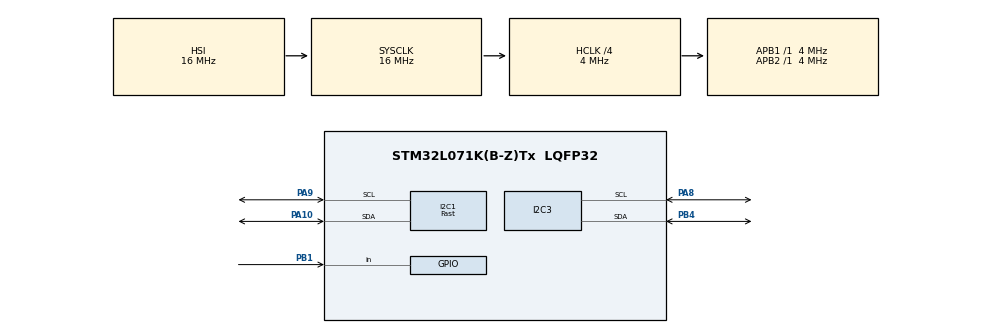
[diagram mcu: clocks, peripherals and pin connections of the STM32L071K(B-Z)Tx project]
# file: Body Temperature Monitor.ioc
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I2C1.I2C_Speed_Mode=I2C_Fast
I2C1.Timing=0x00000004
I2C3.Timing=0x00000E14
Mcu.Family=STM32L0
Mcu.Name=STM32L071K(B-Z)Tx
Mcu.Package=LQFP32
NVIC.TIM21_IRQn=true\:1\:0\:true\:false\:true\:true\:true
NVIC.TIM2_IRQn=true\:0\:0\:false\:false\:true\:true\:true
NVIC.TIM6_IRQn=true\:0\:0\:false\:false\:true\:true\:true
PA0.Mode=SYS_WakeUp0
PA0.Signal=SYS_WKUP1
PA10.Mode=I2C
PA10.Signal=I2C1_SDA
PA13.Mode=Serial_Wire
PA13.Signal=SYS_SWDIO
PA14.Mode=Serial_Wire
PA14.Signal=SYS_SWCLK
PA8.Mode=I2C
PA8.Signal=I2C3_SCL
PA9.Mode=I2C
PA9.Signal=I2C1_SCL
PB1.Signal=GPIO_Input
PB4.Mode=I2C
PB4.Signal=I2C3_SDA
PC14-OSC32_IN.Mode=LSE-External-Oscillator
PC14-OSC32_IN.Signal=RCC_OSC32_IN
PC15-OSC32_OUT.Mode=LSE-External-Oscillator
PC15-OSC32_OUT.Signal=RCC_OSC32_OUT
ProjectManager.HeapSize=0x200
ProjectManager.StackSize=0x400
ProjectManager.TargetToolchain=STM32CubeIDE
RCC.AHBCLKDivider=RCC_SYSCLK_DIV4
RCC.AHBFreq_Value=4000000
RCC.APB1Freq_Value=4000000
RCC.APB1TimFreq_Value=4000000
RCC.APB2Freq_Value=4000000
RCC.APB2TimFreq_Value=4000000
RCC.HCLKFreq_Value=4000000
RCC.HSI16_VALUE=16000000
RCC.HSI_VALUE=16000000
RCC.MSI_VALUE=2097000
RCC.RTCClockSelectionVirtual=RCC_RTCCLKSOURCE_LSE
RCC.SYSCLKFreq_VALUE=16000000
RCC.SYSCLKSource=RCC_SYSCLKSOURCE_HSI
RCC.VCOOutputFreq_Value=48000000
RCC.VDD_VALUE=3
TIM2.Period=50
TIM2.Prescaler=4000-1
TIM2.TIM_MasterOutputTrigger=TIM_TRGO_ENABLE
TIM21.Period=1000
TIM21.Prescaler=4000
TIM21.TIM_MasterOutputTrigger=TIM_TRGO_ENABLE
TIM3.Period=65536-1
TIM3.Prescaler=400-1
TIM6.Period=50
TIM6.Prescaler=4000-1
TIM6.TIM_MasterOutputTrigger=TIM_TRGO_ENABLE
TIM7.Period=65536-1
TIM7.Prescaler=400-1
VP_RTC_VS_RTC_Activate.Mode=RTC_Enabled
VP_RTC_VS_RTC_Calendar.Mode=RTC_Calendar
VP_TIM21_VS_ClockSourceINT.Mode=Internal
VP_TIM2_VS_ClockSourceINT.Mode=Internal
VP_TIM3_VS_ClockSourceINT.Mode=Internal
VP_TIM6_VS_ClockSourceINT.Mode=Enable_Timer
VP_TIM7_VS_ClockSourceINT.Mode=Enable_Timer
board=custom

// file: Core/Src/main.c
/* USER CODE BEGIN Header */
/**
  ******************************************************************************
  * @file           : main.c
  * @brief          : Main program body
  ******************************************************************************
  * @attention
  *
  * <h2><center>&copy; Copyright (c) 2021 STMicroelectronics.
  * All rights reserved.</center></h2>
  *
  * This software component is licensed by ST under BSD 3-Clause license,
  * the "License"; You may not use this file except in compliance with the
  * License. You may obtain a copy of the License at:
  *                        opensource.org/licenses/BSD-3-Clause
  *
  ******************************************************************************
  */
/* USER CODE END Header */
#include "main.h"

/* USER CODE BEGIN Includes */
#include "fonts.h"
#include "ssd1306.h"
#include "test.h"
#include<stdbool.h>
#include<stdio.h>
#include "string.h"
/* USER CODE END Includes */

/* USER CODE BEGIN PTD */
RTC_TimeTypeDef sTime = {0};
RTC_DateTypeDef sDate = {0};
RTC_DateTypeDef gDate;
RTC_TimeTypeDef gTime;
/* USER CODE END PTD */

I2C_HandleTypeDef hi2c1;
I2C_HandleTypeDef hi2c3;

RTC_HandleTypeDef hrtc;

TIM_HandleTypeDef htim2;
TIM_HandleTypeDef htim3;
TIM_HandleTypeDef htim6;
TIM_HandleTypeDef htim7;
TIM_HandleTypeDef htim21;

/* USER CODE BEGIN PV */
char time[10];
char today[15];
char today_year[5];
char temp[5];
char hour[2];
char min[2];
char date[2];
char month[2];
char year[2];
float time_pressed = 0;
u_int8_t disp_mode = 0;
u_int8_t set_hour = 0;
u_int8_t set_min = 0;
u_int8_t set_date = 0;
u_int8_t set_month = 0;
u_int8_t set_year = 0;
u_int8_t doNothing = 0;
bool buttonPressed = false;
bool buttonPressed_set = false;//"button" for when in settings mode
bool disp_changed = false;//Used to clear the display only if the display mode is changed---CANNOT CLEAR IN INTERRUPT, ITS TO FAST AND THE WHOLE DISPLAY ARE NOT CLEARED
bool standby_tim_start = false;

//MAX30205 settings
const uint8_t max30205_addr = 0x90;//From datasheet, A0, A1, A2 = GND
const uint8_t max30205_conf = 0x44;//From datasheet, select all functions to be active (Highlighted in datasheet)
const uint8_t max30205_sleep = 0x01;
float sens_temp = 00.0;//Variable to store the temperature from MAX30205

/* USER CODE END PV */

void SystemClock_Config(void);
static void MX_GPIO_Init(void);
static void MX_I2C1_Init(void);
static void MX_I2C3_Init(void);
static void MX_RTC_Init(void);
static void MX_TIM2_Init(void);
static void MX_TIM3_Init(void);
static void MX_TIM6_Init(void);
static void MX_TIM7_Init(void);
static void MX_TIM21_Init(void);

/* USER CODE BEGIN 0 */
void set_time (void)
{
	sTime.Hours = 0x00;
	sTime.Minutes = 0x00;
	sTime.Seconds = 0x00;
	sTime.DayLightSaving = RTC_DAYLIGHTSAVING_NONE;
	sTime.StoreOperation = RTC_STOREOPERATION_RESET;
	if (HAL_RTC_SetTime(&hrtc, &sTime, RTC_FORMAT_BCD) != HAL_OK)
	{
		Error_Handler();
	}
	sDate.WeekDay = 01;
	sDate.Month = 0x01;
	sDate.Date = 0x01;
	sDate.Year = 0x20;
	if (HAL_RTC_SetDate(&hrtc, &sDate, RTC_FORMAT_BCD) != HAL_OK)
	{
		Error_Handler();
	}

	HAL_RTCEx_BKUPWrite(&hrtc, RTC_BKP_DR1, 0x32F2);
}

void get_time(void)
{
	//Get current time from RTC
	HAL_RTC_GetTime(&hrtc, &gTime, RTC_FORMAT_BIN);
	//Get current date from RTC
	HAL_RTC_GetDate(&hrtc, &gDate, RTC_FORMAT_BIN);
}

void display_time (void)
{
	//Display time: hh:mm:ss
	sprintf((char*)time, "%02d:%02d", gTime.Hours, gTime.Minutes);
	if (disp_changed)
	{
		SSD1306_Clear();
		disp_changed = false;
	}
	SSD1306_GotoXY(35, 40);
	SSD1306_Puts(time, &Font_11x18, 1);
	SSD1306_UpdateScreen();
}

void display_date (void)
{
	//Display date: dd-mm-yy
	sprintf((char*)today, "%02d-%02d", gDate.Date, gDate.Month);
	sprintf((char*)today_year, "%d", 2000 + gDate.Year);
	if (disp_changed)
	{
		SSD1306_Clear();
		disp_changed = false;
	}
	SSD1306_GotoXY(38, 32);
	SSD1306_Puts(today, &Font_11x18, 1);
	SSD1306_GotoXY(50, 50);
	SSD1306_Puts(today_year, &Font_7x10, 1);
	SSD1306_UpdateScreen();
}

HAL_StatusTypeDef get_temp(uint8_t address, uint8_t config, float *sensor_temperature)
{
	HAL_StatusTypeDef ret;
	uint8_t Data[2];//Will receive 2 bytes from the sensor

	//Send config
	ret = HAL_I2C_Mem_Write(&hi2c3, (uint8_t)(address), 0x01, 1, &config, 1, 50);//0x01 is the config register of MAX30205
	//Check for errors
	if(ret != HAL_OK)
	{
		return ret;
	}

	HAL_Delay(500);

	//Get temperature
	ret = HAL_I2C_Mem_Read(&hi2c3, (uint8_t)(address) | 0x01, 0x00, 1, Data, 2, 50);//(uint8_t)(address) | 0x01 = must add 0x01 to address to read (1), 0x00 is the temp register of MAX30205
	if(ret != HAL_OK)
	{
		return ret;
	}

	//Convert to temperature
	//*sensor_temperature = 0.109*(((Data[0] << 8) | Data[1])*0.00390625) + 33.07;//Add the two received bytes together.
	*sensor_temperature = ((Data[0] << 8) | Data[1])*0.00390625;//Add the two received bytes together.
	return HAL_OK;
}

void display_temp(void)
{
	if (disp_changed)
	{
		SSD1306_Clear();
		disp_changed = false;
	}
	gcvt(sens_temp, 3, temp);//Float to string
	SSD1306_GotoXY(35, 40);
    SSD1306_Puts(temp, &Font_11x18, 1);
    SSD1306_GotoXY(77, 35);
    SSD1306_Puts("o", &Font_7x10, 1);
    SSD1306_GotoXY(85, 40);
    SSD1306_Puts("C", &Font_11x18, 1);
	SSD1306_UpdateScreen();
}

void display_set_hour(void)
{
	if (disp_changed)
	{
		SSD1306_Clear();
		disp_changed = false;
	}
	SSD1306_GotoXY(33, 32);
	SSD1306_Puts("Set Hour", &Font_7x10, 1);
	sprintf(hour, "%d", set_hour);
	SSD1306_GotoXY(60, 45);
	SSD1306_Puts(hour, &Font_11x18, 1);
	SSD1306_UpdateScreen();
}

void display_set_min(void)
{
	if (disp_changed)
	{
		SSD1306_Clear();
		disp_changed = false;
	}
	SSD1306_GotoXY(33, 32);
	SSD1306_Puts("Set Min", &Font_7x10, 1);
	sprintf(min, "%d", set_min);
	SSD1306_GotoXY(60, 45);
	SSD1306_Puts(min, &Font_11x18, 1);
	SSD1306_UpdateScreen();
}

void display_set_date(void)
{
	if (disp_changed)
	{
		SSD1306_Clear();
		disp_changed = false;
	}
	SSD1306_GotoXY(33, 32);
	SSD1306_Puts("Set Date", &Font_7x10, 1);
	sprintf(date, "%d", set_date);
	SSD1306_GotoXY(60, 45);
	SSD1306_Puts(date, &Font_11x18, 1);
	SSD1306_UpdateScreen();
}

void display_set_month(void)
{
	if (disp_changed)
	{
		SSD1306_Clear();
		disp_changed = false;
	}
	SSD1306_GotoXY(33, 32);
	SSD1306_Puts("Set Month", &Font_7x10, 1);
	sprintf(month, "%d", set_month);
	SSD1306_GotoXY(60, 45);
	SSD1306_Puts(month, &Font_11x18, 1);
	SSD1306_UpdateScreen();
}

void display_set_year(void)
{
	if (disp_changed)
	{
		SSD1306_Clear();
		disp_changed = false;
	}
	SSD1306_GotoXY(33, 32);
	SSD1306_Puts("Set Year", &Font_7x10, 1);
	sprintf(year, "%d", set_year);
	SSD1306_GotoXY(42, 45);
	SSD1306_Puts("20", &Font_11x18, 1);
	SSD1306_GotoXY(65, 45);
	SSD1306_Puts(year, &Font_11x18, 1);
	SSD1306_UpdateScreen();
}

void polling(void)//Determine time button is pressed.
{
	if (HAL_GPIO_ReadPin(GPIOB, GPIO_PIN_1)==0)//Positive logic on button
		{
			buttonPressed = true;
			doNothing = 0;
			HAL_TIM_Base_Start(&htim3);
			time_pressed = __HAL_TIM_GET_COUNTER(&htim3);
			while(HAL_GPIO_ReadPin(GPIOB, GPIO_PIN_1)==0)
			{
				//Do nothing
			}
			time_pressed = (__HAL_TIM_GET_COUNTER(&htim3) - time_pressed)*0.0001;//To seconds, timer is 100us tick
			//HAL_TIM_Base_Stop(&htim3);
			//HAL_TIM_Base_Init(&htim3);//Used to reset timer 3
		}
	/*else
	{
		doNothing++;
	}

	if (doNothing >= 200)
	{
		SSD1306_OFF();
		HAL_I2C_Mem_Write(&hi2c3, max30205_addr, 0x01, 1, &max30205_sleep, 1, 50);
		//Enter standby-mode
		__HAL_PWR_CLEAR_FLAG(PWR_FLAG_WU);
		HAL_PWR_EnableWakeUpPin(PWR_WAKEUP_PIN1);
		HAL_PWR_EnterSTANDBYMode();
	}*/

	if (buttonPressed)
	{
		//HAL_TIM_Base_Stop_IT(&htim5);
		//standby_tim_start = false;
		if ((time_pressed >= 0.01) && (time_pressed <= 1))
		{
	       //switch display mode
			switch(disp_mode)
			{
			case 0:
				disp_mode = 1;
				buttonPressed = false;
				disp_changed = true;
				break;
			case 1:
				disp_mode = 2;
				buttonPressed = false;
				disp_changed = true;
				break;
			case 2:
				disp_mode = 0;
				buttonPressed = false;
				disp_changed = true;
				break;
			}
		}
		else if ((time_pressed > 1.5) && (time_pressed <= 3) && ((disp_mode == 1) || (disp_mode == 2)))
		{
		   disp_mode = 3;
		   disp_changed = true;
		   buttonPressed = false;
		   HAL_TIM_Base_Stop(&htim2);//stop the timer used for polling the input button
		   get_time();
		   set_hour = gTime.Hours;
		   set_min = gTime.Minutes;
		   set_date = gDate.Date;
		   set_month = gDate.Month;
		   set_year = gDate.Year;
		   HAL_TIM_Base_Start_IT(&htim6);//start the timer used in settings mode
		}
		else if (time_pressed >= 4)
		{
			disp_mode = 8;//Standby Mode
		}
	}

}
void polling_set(void)
{
	if (HAL_GPIO_ReadPin(GPIOB, GPIO_PIN_1)==0)//Positive logic on button
		{
			buttonPressed_set = true;
			HAL_TIM_Base_Start(&htim7);
			time_pressed = __HAL_TIM_GET_COUNTER(&htim7);
			while(HAL_GPIO_ReadPin(GPIOB, GPIO_PIN_1)==0)
			{
				//Do nothing
			}
			time_pressed = (__HAL_TIM_GET_COUNTER(&htim7) - time_pressed)*0.0001;//To seconds, timer is 100us tick
			HAL_TIM_Base_Stop(&htim7);
			HAL_TIM_Base_Init(&htim7);//Used to reset timer 7
		}
	if (buttonPressed_set)
	{
		if ((time_pressed >= 0.01) && (time_pressed <= 1))
		{
			switch(disp_mode)
			{
			case 3:
				buttonPressed_set = false;
				set_hour++;
				if (set_hour > 23)
				{
					set_hour = 0;
					disp_changed = true;
				}
				break;
			case 4:
				buttonPressed_set = false;
				set_min++;
				if (set_min > 59)
				{
					set_min = 0;
					disp_changed = true;
				}
				break;
			case 5:
				buttonPressed_set = false;
				set_date++;
				if (set_date > 31)
				{
					set_date = 1;
					disp_changed = true;
				}
				break;
			case 6:
				buttonPressed_set = false;
				set_month++;
				if (set_month > 12)
				{
					set_month = 1;
					disp_changed = true;
				}
				break;
			case 7:
				buttonPressed_set = false;
				set_year++;
			    if (set_year > 30)
				{
					set_year = 20;
					disp_changed = true;
				}
				break;
			}
		}
		else if ((time_pressed > 1.5) && (time_pressed <= 3))//Change what are being set
		{
			switch(disp_mode)
			{
			case 3://Go to min to change it
				disp_mode = 4;
				buttonPressed_set = false;
				disp_changed = true;
				break;
			case 4://Go to date to change it
				disp_mode = 5;
				buttonPressed_set = false;
				disp_changed = true;
				break;
			case 5://Go to month to change it
				disp_mode = 6;
				buttonPressed_set = false;
				disp_changed = true;
				break;
			case 6://Go to year to change it
				disp_mode = 7;
				buttonPressed_set = false;
				disp_changed = true;
				break;
			case 7://Exit settings mode and save the time and date
				disp_mode = 0;
				buttonPressed_set = false;
				disp_changed = true;
				sTime.Hours = set_hour;
				sTime.Minutes = set_min;
				if (HAL_RTC_SetTime(&hrtc, &sTime, RTC_FORMAT_BIN) != HAL_OK)//Save the time
				{
					Error_Handler();
				}
				sDate.Date = set_date;
				sDate.Month = set_month;
				sDate.Year = set_year;
				if (HAL_RTC_SetDate(&hrtc, &sDate, RTC_FORMAT_BIN) != HAL_OK)//Save the date
				{
					Error_Handler();
				}
				HAL_TIM_Base_Stop(&htim6);//stop the timer used to monitor the input button while in settings mode
				HAL_TIM_Base_Start_IT(&htim2);//start the timer used to monitor the input button while in display mode
			}
		}
	}
}

/*void read_temp(void)
{
	get_temp(max30205_addr, max30205_conf, &sens_temp);
}*/

/* USER CODE END 0 */

int main(void)
{

  /* MCU Configuration--------------------------------------------------------*/

  /* Reset of all peripherals, Initializes the Flash interface and the Systick. */
  HAL_Init();

  /* Configure the system clock */
  SystemClock_Config();

  /* Initialize all configured peripherals */
  MX_GPIO_Init();
  MX_I2C1_Init();
  MX_I2C3_Init();
  MX_RTC_Init();
  MX_TIM2_Init();
  MX_TIM3_Init();
  MX_TIM6_Init();
  MX_TIM7_Init();
  MX_TIM21_Init();
  /* USER CODE BEGIN 2 */
  SSD1306_Init(); // Initialize the oled display

  HAL_TIM_RegisterCallback(&htim2, HAL_TIM_PERIOD_ELAPSED_CB_ID,(void*)polling);
  HAL_TIM_RegisterCallback(&htim6, HAL_TIM_PERIOD_ELAPSED_CB_ID,(void*)polling_set);
  //HAL_TIM_RegisterCallback(&htim21, HAL_TIM_PERIOD_ELAPSED_CB_ID,(void*)read_temp);
  HAL_TIM_Base_Start_IT(&htim2);
  //HAL_TIM_Base_Start_IT(&htim21);

  //Initialize variables:
  buttonPressed = false;
  buttonPressed_set = false;
  disp_changed = false;
  standby_tim_start = false;
  disp_mode = 0;
  doNothing = 0;

  if(HAL_RTCEx_BKUPRead(&hrtc, RTC_BKP_DR1) != 0x32F2)//Backup register for RTC
  {
	  set_time();
  }
  /* USER CODE END 2 */

  /* Infinite loop */
  /* USER CODE BEGIN WHILE */
  while (1)
  {
	  /*
	  //Standby mode: Check if SB flag is set
	  if (__HAL_PWR_GET_FLAG(PWR_FLAG_SB) != RESET)//if the flag are set, MCU woke up from standby mode
	  {
		  __HAL_PWR_CLEAR_FLAG(PWR_FLAG_SB);
		  //Disable the wakeup pin
		  HAL_PWR_DisableWakeUpPin(PWR_WAKEUP_PIN1);//PA0
	  }*/
	  switch(disp_mode)
	  {
	  case 0://Temp
		  get_temp(max30205_addr, max30205_conf, &sens_temp);
		  display_temp();
		  break;
	  case 1://Time
		  get_time();
		  display_time();
		  break;
	  case 2://Date
		  display_date();
		  break;
	  case 3://Set hour
		  display_set_hour();
		  break;
	  case 4://Set min
		  display_set_min();
		  break;
	  case 5://Set date
		  display_set_date();
		  break;
	  case 6://Set month
		  display_set_month();
		  break;
	  case 7://Set year
		  display_set_year();
		  break;
	  }
    /* USER CODE END WHILE */

  }
}

void SystemClock_Config(void)
{
  RCC_OscInitTypeDef RCC_OscInitStruct = {0};
  RCC_ClkInitTypeDef RCC_ClkInitStruct = {0};
  RCC_PeriphCLKInitTypeDef PeriphClkInit = {0};

  /** Configure the main internal regulator output voltage
  */
  __HAL_PWR_VOLTAGESCALING_CONFIG(PWR_REGULATOR_VOLTAGE_SCALE1);
  /** Configure LSE Drive Capability
  */
  HAL_PWR_EnableBkUpAccess();
  __HAL_RCC_LSEDRIVE_CONFIG(RCC_LSEDRIVE_LOW);
  /** Initializes the RCC Oscillators according to the specified parameters
  * in the RCC_OscInitTypeDef structure.
  */
  RCC_OscInitStruct.OscillatorType = RCC_OSCILLATORTYPE_HSI|RCC_OSCILLATORTYPE_LSE;
  RCC_OscInitStruct.LSEState = RCC_LSE_ON;
  RCC_OscInitStruct.HSIState = RCC_HSI_ON;
  RCC_OscInitStruct.HSICalibrationValue = RCC_HSICALIBRATION_DEFAULT;
  RCC_OscInitStruct.PLL.PLLState = RCC_PLL_NONE;
  if (HAL_RCC_OscConfig(&RCC_OscInitStruct) != HAL_OK)
  {
    Error_Handler();
  }
  /** Initializes the CPU, AHB and APB buses clocks
  */
  RCC_ClkInitStruct.ClockType = RCC_CLOCKTYPE_HCLK|RCC_CLOCKTYPE_SYSCLK
                              |RCC_CLOCKTYPE_PCLK1|RCC_CLOCKTYPE_PCLK2;
  RCC_ClkInitStruct.SYSCLKSource = RCC_SYSCLKSOURCE_HSI;
  RCC_ClkInitStruct.AHBCLKDivider = RCC_SYSCLK_DIV4;
  RCC_ClkInitStruct.APB1CLKDivider = RCC_HCLK_DIV1;
  RCC_ClkInitStruct.APB2CLKDivider = RCC_HCLK_DIV1;

  if (HAL_RCC_ClockConfig(&RCC_ClkInitStruct, FLASH_LATENCY_0) != HAL_OK)
  {
    Error_Handler();
  }
  PeriphClkInit.PeriphClockSelection = RCC_PERIPHCLK_I2C1|RCC_PERIPHCLK_I2C3
                              |RCC_PERIPHCLK_RTC;
  PeriphClkInit.I2c1ClockSelection = RCC_I2C1CLKSOURCE_PCLK1;
  PeriphClkInit.I2c3ClockSelection = RCC_I2C3CLKSOURCE_PCLK1;
  PeriphClkInit.RTCClockSelection = RCC_RTCCLKSOURCE_LSE;
  if (HAL_RCCEx_PeriphCLKConfig(&PeriphClkInit) != HAL_OK)
  {
    Error_Handler();
  }
}

static void MX_I2C1_Init(void)
{

  hi2c1.Instance = I2C1;
  hi2c1.Init.Timing = 0x00000004;
  hi2c1.Init.OwnAddress1 = 0;
  hi2c1.Init.AddressingMode = I2C_ADDRESSINGMODE_7BIT;
  hi2c1.Init.DualAddressMode = I2C_DUALADDRESS_DISABLE;
  hi2c1.Init.OwnAddress2 = 0;
  hi2c1.Init.OwnAddress2Masks = I2C_OA2_NOMASK;
  hi2c1.Init.GeneralCallMode = I2C_GENERALCALL_DISABLE;
  hi2c1.Init.NoStretchMode = I2C_NOSTRETCH_DISABLE;
  if (HAL_I2C_Init(&hi2c1) != HAL_OK)
  {
    Error_Handler();
  }
  /** Configure Analogue filter
  */
  if (HAL_I2CEx_ConfigAnalogFilter(&hi2c1, I2C_ANALOGFILTER_ENABLE) != HAL_OK)
  {
    Error_Handler();
  }
  /** Configure Digital filter
  */
  if (HAL_I2CEx_ConfigDigitalFilter(&hi2c1, 0) != HAL_OK)
  {
    Error_Handler();
  }

}

static void MX_I2C3_Init(void)
{

  hi2c3.Instance = I2C3;
  hi2c3.Init.Timing = 0x00000E14;
  hi2c3.Init.OwnAddress1 = 0;
  hi2c3.Init.AddressingMode = I2C_ADDRESSINGMODE_7BIT;
  hi2c3.Init.DualAddressMode = I2C_DUALADDRESS_DISABLE;
  hi2c3.Init.OwnAddress2 = 0;
  hi2c3.Init.OwnAddress2Masks = I2C_OA2_NOMASK;
  hi2c3.Init.GeneralCallMode = I2C_GENERALCALL_DISABLE;
  hi2c3.Init.NoStretchMode = I2C_NOSTRETCH_DISABLE;
  if (HAL_I2C_Init(&hi2c3) != HAL_OK)
  {
    Error_Handler();
  }
  /** Configure Analogue filter
  */
  if (HAL_I2CEx_ConfigAnalogFilter(&hi2c3, I2C_ANALOGFILTER_ENABLE) != HAL_OK)
  {
    Error_Handler();
  }
  /** Configure Digital filter
  */
  if (HAL_I2CEx_ConfigDigitalFilter(&hi2c3, 0) != HAL_OK)
  {
    Error_Handler();
  }

}

static void MX_RTC_Init(void)
{

  RTC_TimeTypeDef sTime = {0};
  RTC_DateTypeDef sDate = {0};

  /** Initialize RTC Only
  */
  hrtc.Instance = RTC;
  hrtc.Init.HourFormat = RTC_HOURFORMAT_24;
  hrtc.Init.AsynchPrediv = 127;
  hrtc.Init.SynchPrediv = 255;
  hrtc.Init.OutPut = RTC_OUTPUT_DISABLE;
  hrtc.Init.OutPutRemap = RTC_OUTPUT_REMAP_NONE;
  hrtc.Init.OutPutPolarity = RTC_OUTPUT_POLARITY_HIGH;
  hrtc.Init.OutPutType = RTC_OUTPUT_TYPE_OPENDRAIN;
  if (HAL_RTC_Init(&hrtc) != HAL_OK)
  {
    Error_Handler();
  }

  /** Initialize RTC and set the Time and Date
  */
  /*
  sTime.Hours = 0x0;
  sTime.Minutes = 0x0;
  sTime.Seconds = 0x0;
  sTime.DayLightSaving = RTC_DAYLIGHTSAVING_NONE;
  sTime.StoreOperation = RTC_STOREOPERATION_RESET;
  if (HAL_RTC_SetTime(&hrtc, &sTime, RTC_FORMAT_BCD) != HAL_OK)
  {
    Error_Handler();
  }
  sDate.WeekDay = RTC_WEEKDAY_MONDAY;
  sDate.Month = RTC_MONTH_JANUARY;
  sDate.Date = 0x1;
  sDate.Year = 0x0;

  if (HAL_RTC_SetDate(&hrtc, &sDate, RTC_FORMAT_BCD) != HAL_OK)
  {
    Error_Handler();
  }*/

}

static void MX_TIM2_Init(void)
{

  TIM_ClockConfigTypeDef sClockSourceConfig = {0};
  TIM_MasterConfigTypeDef sMasterConfig = {0};

  htim2.Instance = TIM2;
  htim2.Init.Prescaler = 4000-1;
  htim2.Init.CounterMode = TIM_COUNTERMODE_UP;
  htim2.Init.Period = 50;
  htim2.Init.ClockDivision = TIM_CLOCKDIVISION_DIV1;
  htim2.Init.AutoReloadPreload = TIM_AUTORELOAD_PRELOAD_DISABLE;
  if (HAL_TIM_Base_Init(&htim2) != HAL_OK)
  {
    Error_Handler();
  }
  sClockSourceConfig.ClockSource = TIM_CLOCKSOURCE_INTERNAL;
  if (HAL_TIM_ConfigClockSource(&htim2, &sClockSourceConfig) != HAL_OK)
  {
    Error_Handler();
  }
  sMasterConfig.MasterOutputTrigger = TIM_TRGO_ENABLE;
  sMasterConfig.MasterSlaveMode = TIM_MASTERSLAVEMODE_DISABLE;
  if (HAL_TIMEx_MasterConfigSynchronization(&htim2, &sMasterConfig) != HAL_OK)
  {
    Error_Handler();
  }

}

static void MX_TIM3_Init(void)
{

  TIM_ClockConfigTypeDef sClockSourceConfig = {0};
  TIM_MasterConfigTypeDef sMasterConfig = {0};

  htim3.Instance = TIM3;
  htim3.Init.Prescaler = 400-1;
  htim3.Init.CounterMode = TIM_COUNTERMODE_UP;
  htim3.Init.Period = 65536-1;
  htim3.Init.ClockDivision = TIM_CLOCKDIVISION_DIV1;
  htim3.Init.AutoReloadPreload = TIM_AUTORELOAD_PRELOAD_DISABLE;
  if (HAL_TIM_Base_Init(&htim3) != HAL_OK)
  {
    Error_Handler();
  }
  sClockSourceConfig.ClockSource = TIM_CLOCKSOURCE_INTERNAL;
  if (HAL_TIM_ConfigClockSource(&htim3, &sClockSourceConfig) != HAL_OK)
  {
    Error_Handler();
  }
  sMasterConfig.MasterOutputTrigger = TIM_TRGO_RESET;
  sMasterConfig.MasterSlaveMode = TIM_MASTERSLAVEMODE_DISABLE;
  if (HAL_TIMEx_MasterConfigSynchronization(&htim3, &sMasterConfig) != HAL_OK)
  {
    Error_Handler();
  }

}

static void MX_TIM6_Init(void)
{

  TIM_MasterConfigTypeDef sMasterConfig = {0};

  htim6.Instance = TIM6;
  htim6.Init.Prescaler = 4000-1;
  htim6.Init.CounterMode = TIM_COUNTERMODE_UP;
  htim6.Init.Period = 50;
  htim6.Init.AutoReloadPreload = TIM_AUTORELOAD_PRELOAD_DISABLE;
  if (HAL_TIM_Base_Init(&htim6) != HAL_OK)
  {
    Error_Handler();
  }
  sMasterConfig.MasterOutputTrigger = TIM_TRGO_ENABLE;
  sMasterConfig.MasterSlaveMode = TIM_MASTERSLAVEMODE_DISABLE;
  if (HAL_TIMEx_MasterConfigSynchronization(&htim6, &sMasterConfig) != HAL_OK)
  {
    Error_Handler();
  }

}

static void MX_TIM7_Init(void)
{

  TIM_MasterConfigTypeDef sMasterConfig = {0};

  htim7.Instance = TIM7;
  htim7.Init.Prescaler = 400-1;
  htim7.Init.CounterMode = TIM_COUNTERMODE_UP;
  htim7.Init.Period = 65536-1;
  htim7.Init.AutoReloadPreload = TIM_AUTORELOAD_PRELOAD_DISABLE;
  if (HAL_TIM_Base_Init(&htim7) != HAL_OK)
  {
    Error_Handler();
  }
  sMasterConfig.MasterOutputTrigger = TIM_TRGO_RESET;
  sMasterConfig.MasterSlaveMode = TIM_MASTERSLAVEMODE_DISABLE;
  if (HAL_TIMEx_MasterConfigSynchronization(&htim7, &sMasterConfig) != HAL_OK)
  {
    Error_Handler();
  }

}

static void MX_TIM21_Init(void)
{

  TIM_ClockConfigTypeDef sClockSourceConfig = {0};
  TIM_MasterConfigTypeDef sMasterConfig = {0};

  htim21.Instance = TIM21;
  htim21.Init.Prescaler = 4000;
  htim21.Init.CounterMode = TIM_COUNTERMODE_UP;
  htim21.Init.Period = 1000;
  htim21.Init.ClockDivision = TIM_CLOCKDIVISION_DIV1;
  htim21.Init.AutoReloadPreload = TIM_AUTORELOAD_PRELOAD_DISABLE;
  if (HAL_TIM_Base_Init(&htim21) != HAL_OK)
  {
    Error_Handler();
  }
  sClockSourceConfig.ClockSource = TIM_CLOCKSOURCE_INTERNAL;
  if (HAL_TIM_ConfigClockSource(&htim21, &sClockSourceConfig) != HAL_OK)
  {
    Error_Handler();
  }
  sMasterConfig.MasterOutputTrigger = TIM_TRGO_ENABLE;
  sMasterConfig.MasterSlaveMode = TIM_MASTERSLAVEMODE_DISABLE;
  if (HAL_TIMEx_MasterConfigSynchronization(&htim21, &sMasterConfig) != HAL_OK)
  {
    Error_Handler();
  }

}

static void MX_GPIO_Init(void)
{
  GPIO_InitTypeDef GPIO_InitStruct = {0};

  /* GPIO Ports Clock Enable */
  __HAL_RCC_GPIOC_CLK_ENABLE();
  __HAL_RCC_GPIOA_CLK_ENABLE();
  __HAL_RCC_GPIOB_CLK_ENABLE();

  /*Configure GPIO pin : PB1 */
  GPIO_InitStruct.Pin = GPIO_PIN_1;
  GPIO_InitStruct.Mode = GPIO_MODE_INPUT;
  GPIO_InitStruct.Pull = GPIO_NOPULL;
  HAL_GPIO_Init(GPIOB, &GPIO_InitStruct);

}

void Error_Handler(void)
{
  __disable_irq();
  while (1)
  {
  }
}

/************************ (C) COPYRIGHT STMicroelectronics *****END OF FILE****/
